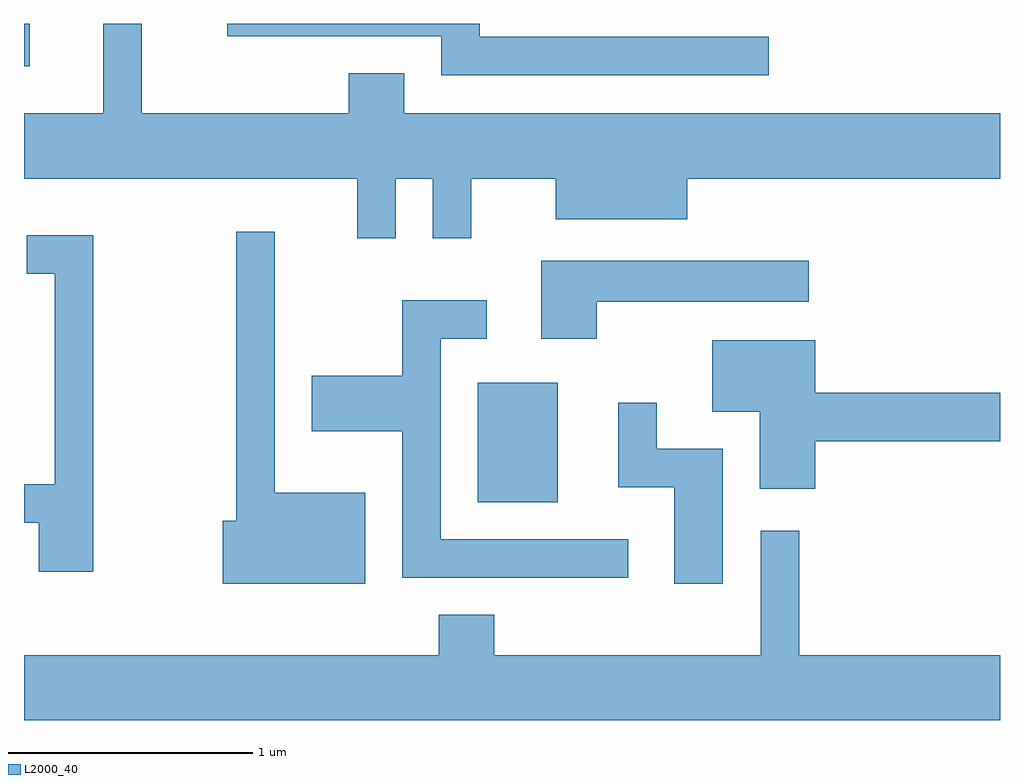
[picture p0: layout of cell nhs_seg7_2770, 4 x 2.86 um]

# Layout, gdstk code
import gdstk
lib = gdstk.Library(unit=1e-6, precision=1e-09)
def R(c, l, rs):  # rectangles x0, y0, x1, y1
    for r in rs: c.add(gdstk.rectangle(r[:2], r[2:], *l))
def P(c, l, *ps):  # polygons
    for p in ps: c.add(gdstk.Polygon(p, *l))
L2000_40 = (2000, 40)

nhs_seg7_2770 = lib.new_cell('nhs_seg7_2770')
R(nhs_seg7_2770, L2000_40, [(271.471,1746.291,271.799,1746.779), (269.611,1748.078,269.634,1748.252)])
P(nhs_seg7_2770, L2000_40, [(271.134,1747.616),(271.286,1747.616),(271.286,1747.373),(271.444,1747.373),(271.444,1747.616),(271.791,1747.616),(271.791,1747.451),(272.329,1747.451),(272.329,1747.616),(273.611,1747.616),(273.611,1747.884),(271.169,1747.884),(271.169,1748.049),(270.941,1748.049),(270.941,1747.884),(270.094,1747.884),(270.094,1748.252),(269.936,1748.252),(269.936,1747.884),(269.611,1747.884),(269.611,1747.616),(270.976,1747.616),(270.976,1747.373),(271.134,1747.373)],
  [(272.663,1748.199),(271.479,1748.199),(271.479,1748.252),(270.443,1748.252),(270.443,1748.201),(271.321,1748.201),(271.321,1748.041),(272.663,1748.041)],
  [(271.009,1746.329),(270.639,1746.329),(270.639,1747.398),(270.481,1747.398),(270.481,1746.214),(270.426,1746.214),(270.426,1745.956),(271.009,1745.956)],
  [(269.894,1747.384),(269.623,1747.384),(269.623,1747.226),(269.736,1747.226),(269.736,1746.364),(269.611,1746.364),(269.611,1746.206),(269.671,1746.206),(269.671,1746.006),(269.894,1746.006)],
  [(271.959,1747.111),(272.828,1747.111),(272.828,1747.279),(271.731,1747.279),(271.731,1746.961),(271.959,1746.961)],
  [(272.088,1746.139),(271.319,1746.139),(271.319,1746.961),(271.508,1746.961),(271.508,1747.119),(271.161,1747.119),(271.161,1746.809),(270.791,1746.809),(270.791,1746.581),(271.161,1746.581),(271.161,1745.981),(272.088,1745.981)],
  [(272.854,1746.541),(273.611,1746.541),(273.611,1746.739),(272.854,1746.739),(272.854,1746.954),(272.431,1746.954),(272.431,1746.661),(272.626,1746.661),(272.626,1746.346),(272.854,1746.346)],
  [(272.474,1746.509),(272.204,1746.509),(272.204,1746.698),(272.046,1746.698),(272.046,1746.351),(272.276,1746.351),(272.276,1745.956),(272.474,1745.956)],
  [(273.611,1745.664),(272.789,1745.664),(272.789,1746.173),(272.631,1746.173),(272.631,1745.664),(271.539,1745.664),(271.539,1745.829),(271.311,1745.829),(271.311,1745.664),(269.611,1745.664),(269.611,1745.396),(273.611,1745.396)])

lib.write_gds('nhs_seg7_2770.gds')
